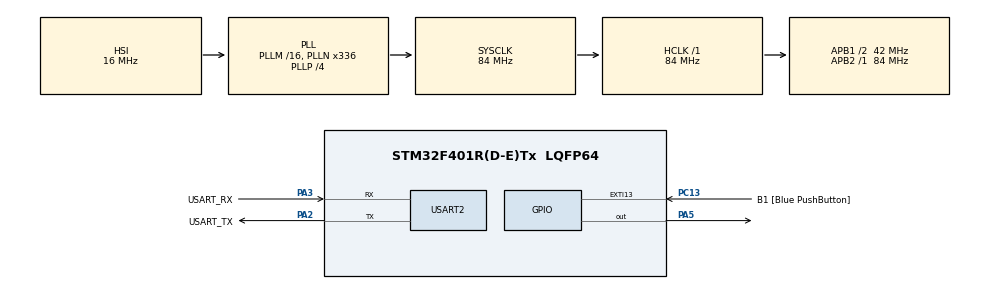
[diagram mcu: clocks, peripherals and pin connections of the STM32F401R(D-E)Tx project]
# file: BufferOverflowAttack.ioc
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Mcu.Family=STM32F4
Mcu.Name=STM32F401R(D-E)Tx
Mcu.Package=LQFP64
NVIC.PriorityGroup=NVIC_PRIORITYGROUP_4
PA13.GPIO_Label=TMS
PA13.Mode=Trace_Asynchronous_SW
PA13.Signal=SYS_JTMS-SWDIO
PA14.GPIO_Label=TCK
PA14.Mode=Trace_Asynchronous_SW
PA14.Signal=SYS_JTCK-SWCLK
PA2.GPIO_Label=USART_TX
PA2.GPIO_Mode=GPIO_MODE_AF_PP
PA2.GPIO_PuPd=GPIO_NOPULL
PA2.GPIO_Speed=GPIO_SPEED_FREQ_LOW
PA2.Mode=Asynchronous
PA2.Signal=USART2_TX
PA3.GPIO_Label=USART_RX
PA3.GPIO_Mode=GPIO_MODE_AF_PP
PA3.GPIO_PuPd=GPIO_NOPULL
PA3.GPIO_Speed=GPIO_SPEED_FREQ_LOW
PA3.Mode=Asynchronous
PA3.Signal=USART2_RX
PA5.Signal=GPIO_Output
PB3.GPIO_Label=SWO
PB3.Mode=Trace_Asynchronous_SW
PB3.Signal=SYS_JTDO-SWO
PC13-ANTI_TAMP.GPIO_Label=B1 [Blue PushButton]
PC13-ANTI_TAMP.GPIO_ModeDefaultEXTI=GPIO_MODE_IT_FALLING
PC13-ANTI_TAMP.GPIO_PuPd=GPIO_NOPULL
PC13-ANTI_TAMP.Signal=GPXTI13
PC14-OSC32_IN.Mode=LSE-External-Oscillator
PC14-OSC32_IN.Signal=RCC_OSC32_IN
PC15-OSC32_OUT.Mode=LSE-External-Oscillator
PC15-OSC32_OUT.Signal=RCC_OSC32_OUT
PH0\ -\ OSC_IN.Mode=HSE-External-Clock-Source
PH0\ -\ OSC_IN.Signal=RCC_OSC_IN
PH1\ -\ OSC_OUT.Mode=HSE-External-Clock-Source
PH1\ -\ OSC_OUT.Signal=RCC_OSC_OUT
ProjectManager.HeapSize=0x200
ProjectManager.StackSize=0x400
ProjectManager.TargetToolchain=STM32CubeIDE
RCC.48MHZClocksFreq_Value=48000000
RCC.AHBFreq_Value=84000000
RCC.APB1CLKDivider=RCC_HCLK_DIV2
RCC.APB1Freq_Value=42000000
RCC.APB1TimFreq_Value=84000000
RCC.APB2Freq_Value=84000000
RCC.APB2TimFreq_Value=84000000
RCC.CortexFreq_Value=84000000
RCC.HCLKFreq_Value=84000000
RCC.HSE_VALUE=8000000
RCC.HSI_VALUE=16000000
RCC.PLLN=336
RCC.PLLP=RCC_PLLP_DIV4
RCC.PLLQ=7
RCC.SYSCLKFreq_VALUE=84000000
RCC.SYSCLKSource=RCC_SYSCLKSOURCE_PLLCLK
RCC.VCOOutputFreq_Value=336000000
USART2.VirtualMode=VM_ASYNC
board=NUCLEO-F401RE

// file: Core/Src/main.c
/* USER CODE BEGIN Header */
/**
  ******************************************************************************
  * @file           : main.c
  * @brief          : Main program body
  ******************************************************************************
  * @attention
  *
  * Copyright (c) 2025 STMicroelectronics.
  * All rights reserved.
  *
  * This software is licensed under terms that can be found in the LICENSE file
  * in the root directory of this software component.
  * If no LICENSE file comes with this software, it is provided AS-IS.
  *
  ******************************************************************************
  */
/* USER CODE END Header */
#include "main.h"

/* USER CODE BEGIN Includes */
#include "UART_Wrapper.h"
/* USER CODE END Includes */

UART_HandleTypeDef huart2;

void SystemClock_Config(void);
static void MX_GPIO_Init(void);
static void MX_USART2_UART_Init(void);

/* USER CODE BEGIN 0 */
void configuration_handler(void)
{
    char config_data[32];
    UART_SendString("=== Configuration Handler ===\r\n");
    UART_SendString("Please enter your configuration data (max 32 characters):\r\n");
    UART_ReceiveString(config_data, 128);
    UART_SendString("Processing your configuration...\r\n");
    HAL_Delay(1000);
    UART_SendString("Your configuration data: ");
    UART_SendString(config_data);
    UART_SendString("\r\n");
    UART_SendString("Configuration successfully saved to memory.\r\n");
    UART_SendString("Returning to the main menu...\r\n");
}

void status_update_handler(void)
{
    UART_SendString("\x1b[34m");
    UART_SendString("System Status: All systems operational.\r\n");
    while (1)
    {
        HAL_GPIO_TogglePin(GPIOA, 5);
        HAL_Delay(250);
    }
}
/* USER CODE END 0 */

int main(void)
{

  /* MCU Configuration--------------------------------------------------------*/

  /* Reset of all peripherals, Initializes the Flash interface and the Systick. */
  HAL_Init();

  /* Configure the system clock */
  SystemClock_Config();

  /* Initialize all configured peripherals */
  MX_GPIO_Init();
  MX_USART2_UART_Init();

  /* Infinite loop */
  while (1)
  {

  }
}

void SystemClock_Config(void)
{
  RCC_OscInitTypeDef RCC_OscInitStruct = {0};
  RCC_ClkInitTypeDef RCC_ClkInitStruct = {0};

  /** Configure the main internal regulator output voltage
  */
  __HAL_RCC_PWR_CLK_ENABLE();
  __HAL_PWR_VOLTAGESCALING_CONFIG(PWR_REGULATOR_VOLTAGE_SCALE2);

  /** Initializes the RCC Oscillators according to the specified parameters
  * in the RCC_OscInitTypeDef structure.
  */
  RCC_OscInitStruct.OscillatorType = RCC_OSCILLATORTYPE_HSI;
  RCC_OscInitStruct.HSIState = RCC_HSI_ON;
  RCC_OscInitStruct.HSICalibrationValue = RCC_HSICALIBRATION_DEFAULT;
  RCC_OscInitStruct.PLL.PLLState = RCC_PLL_ON;
  RCC_OscInitStruct.PLL.PLLSource = RCC_PLLSOURCE_HSI;
  RCC_OscInitStruct.PLL.PLLM = 16;
  RCC_OscInitStruct.PLL.PLLN = 336;
  RCC_OscInitStruct.PLL.PLLP = RCC_PLLP_DIV4;
  RCC_OscInitStruct.PLL.PLLQ = 7;
  if (HAL_RCC_OscConfig(&RCC_OscInitStruct) != HAL_OK)
  {
    Error_Handler();
  }

  /** Initializes the CPU, AHB and APB buses clocks
  */
  RCC_ClkInitStruct.ClockType = RCC_CLOCKTYPE_HCLK|RCC_CLOCKTYPE_SYSCLK
                              |RCC_CLOCKTYPE_PCLK1|RCC_CLOCKTYPE_PCLK2;
  RCC_ClkInitStruct.SYSCLKSource = RCC_SYSCLKSOURCE_PLLCLK;
  RCC_ClkInitStruct.AHBCLKDivider = RCC_SYSCLK_DIV1;
  RCC_ClkInitStruct.APB1CLKDivider = RCC_HCLK_DIV2;
  RCC_ClkInitStruct.APB2CLKDivider = RCC_HCLK_DIV1;

  if (HAL_RCC_ClockConfig(&RCC_ClkInitStruct, FLASH_LATENCY_2) != HAL_OK)
  {
    Error_Handler();
  }
}

static void MX_USART2_UART_Init(void)
{

  huart2.Instance = USART2;
  huart2.Init.BaudRate = 115200;
  huart2.Init.WordLength = UART_WORDLENGTH_8B;
  huart2.Init.StopBits = UART_STOPBITS_1;
  huart2.Init.Parity = UART_PARITY_NONE;
  huart2.Init.Mode = UART_MODE_TX_RX;
  huart2.Init.HwFlowCtl = UART_HWCONTROL_NONE;
  huart2.Init.OverSampling = UART_OVERSAMPLING_16;
  if (HAL_UART_Init(&huart2) != HAL_OK)
  {
    Error_Handler();
  }

}

static void MX_GPIO_Init(void)
{
  GPIO_InitTypeDef GPIO_InitStruct = {0};

  /* GPIO Ports Clock Enable */
  __HAL_RCC_GPIOC_CLK_ENABLE();
  __HAL_RCC_GPIOH_CLK_ENABLE();
  __HAL_RCC_GPIOA_CLK_ENABLE();
  __HAL_RCC_GPIOB_CLK_ENABLE();

  /*Configure GPIO pin Output Level */
  HAL_GPIO_WritePin(GPIOA, GPIO_PIN_5, GPIO_PIN_RESET);

  /*Configure GPIO pin : B1_Pin */
  GPIO_InitStruct.Pin = B1_Pin;
  GPIO_InitStruct.Mode = GPIO_MODE_IT_FALLING;
  GPIO_InitStruct.Pull = GPIO_NOPULL;
  HAL_GPIO_Init(B1_GPIO_Port, &GPIO_InitStruct);

  /*Configure GPIO pin : PA5 */
  GPIO_InitStruct.Pin = GPIO_PIN_5;
  GPIO_InitStruct.Mode = GPIO_MODE_OUTPUT_PP;
  GPIO_InitStruct.Pull = GPIO_NOPULL;
  GPIO_InitStruct.Speed = GPIO_SPEED_FREQ_LOW;
  HAL_GPIO_Init(GPIOA, &GPIO_InitStruct);

}

void Error_Handler(void)
{
  __disable_irq();
  while (1)
  {
  }
}
